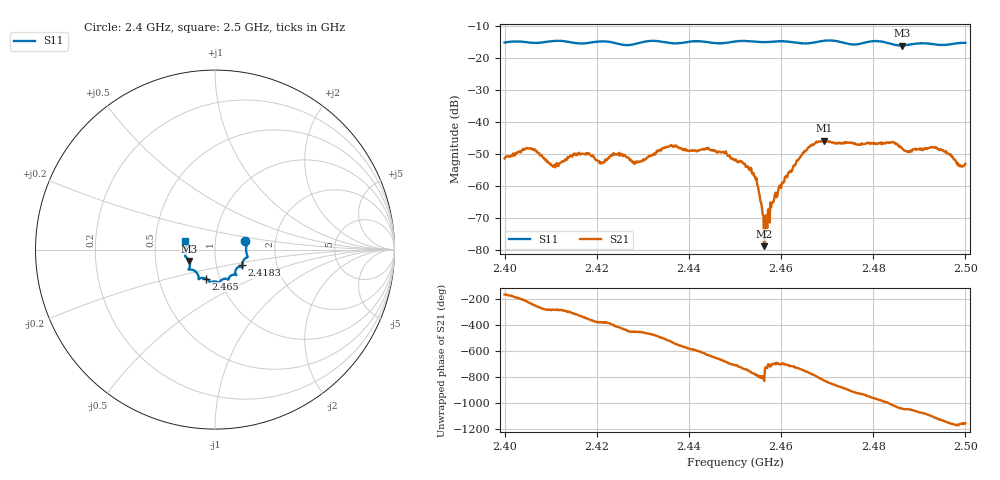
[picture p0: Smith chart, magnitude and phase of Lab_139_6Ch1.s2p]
# Hz S RI R 50
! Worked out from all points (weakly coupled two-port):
!   601 points, 2.4 GHz to 2.5 GHz, reference 50 ohm
!   highest |S21| = -45.80 dB at 2.4693 GHz (marker M1); lowest = -78.8 dB at 2.4563 GHz (marker M2)
!   lowest |S11| = -16.1 dB at 2.4862 GHz (marker M3), VSWR 1.37, Z = 37.2 - j4.82 ohm
!   |S11| at or under -10 dB: start of sweep to end of sweep
!   S12 and S22 are empty: the file has one direction only
!   S11 on the Smith chart (normalised r, x): 2.4 GHz: 1.40, +0.14; 2.4183 GHz: 1.33, -0.24; 2.465 GHz: 0.86, -0.28; 2.5 GHz: 0.71, +0.07
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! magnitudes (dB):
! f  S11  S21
! 2.4 GHz  -15.1  -51.3
! 2.4055 GHz  -15.2  -48.2
! 2.4107 GHz  -14.7  -53.8
! 2.4167 GHz  -15.4  -49.9
! 2.4183 GHz  -15.2  -49.8
! 2.4212 GHz  -14.8  -52.7
! 2.425 GHz  -15.7  -50.5
! 2.4283 GHz  -15.6  -52.3
! 2.4333 GHz  -14.7  -49.1
! 2.444 GHz  -15.0  -48.0
! 2.45 GHz  -14.8  -52.0
! 2.4542 GHz  -14.8  -56.9
! 2.4563 GHz  -15.0  -78.8
! 2.4568 GHz  -15.0  -70.7
! 2.4598 GHz  -14.7  -59.7
! 2.465 GHz  -15.4  -49.1
! 2.4667 GHz  -15.2  -47.0
! 2.4693 GHz  -14.6  -45.8
! 2.4833 GHz  -15.3  -46.5
! 2.4862 GHz  -16.1  -48.1
! 2.4933 GHz  -15.7  -47.8
! 2.5 GHz  -15.2  -53.0
